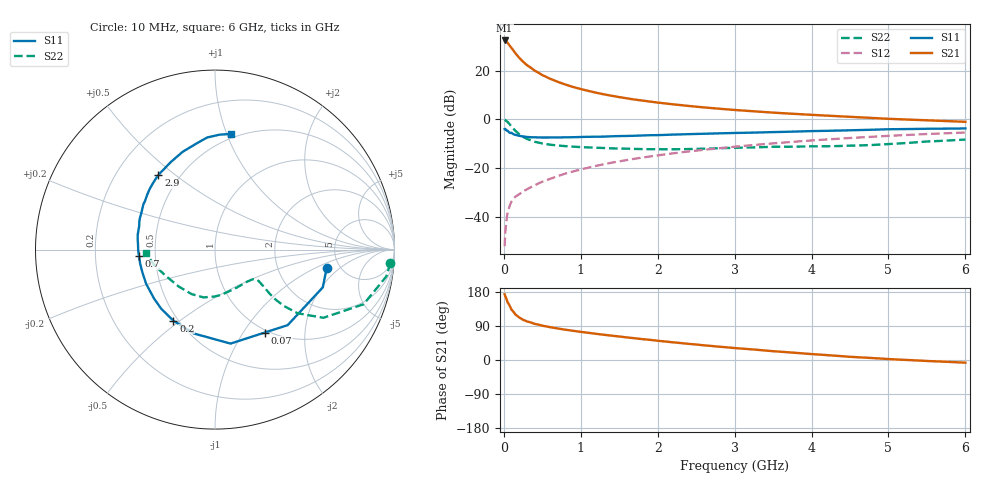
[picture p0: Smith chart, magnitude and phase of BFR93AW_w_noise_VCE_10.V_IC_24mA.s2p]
! (c) 2017  Infineon Technologies AG, Munich
! Infineon Technologies  Discrete & RF Semiconductors
! BFR93AW
! VCE =  10. V,  IC =  24 mA
! Common Emitter S-Parameters:  Jan 2017
# GHz  S  MA  R  50
!  f  S11  S21  S12  S22
! GHz  MAG  ANG  MAG  ANG  MAG  ANG  MAG  ANG
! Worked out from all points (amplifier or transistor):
!   77 points, 10 MHz to 6 GHz, reference 50 ohm
!   highest |S21| = 32.4 dB at 10 MHz (marker M1)
!   |S21| within 3 dB of that: start of sweep to 98.15 MHz
!   unconditionally stable (mu >= 1): 656.1 MHz to 2.073 GHz
!   at 130 MHz: K = 0.46, MSG = 30.2 dB, |S12| = -32.5 dB
!   at 2.2 GHz: K = 0.99, MSG = 10.1 dB, |S12| = -13.9 dB
!   at 6 GHz: K = 0.86, MSG = 2.2 dB, |S12| = -5.4 dB
!   lowest NFmin = 1.63 dB at 450 MHz
!   S11 on the Smith chart (normalised r, x): 10 MHz: 3.91, -1.36; 70 MHz: 0.96, -1.26; 200 MHz: 0.47, -0.47; 700 MHz: 0.40, -0.04; 2.9 GHz: 0.38, +0.44; 6 GHz: 0.46, +1.03
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0.01  0.6303 -9.6  41.54 173.4  0.0025 87.4  0.9803 -4.3
0.02  0.6366 -19.3  41.41 167.9  0.005 82.7  0.967 -8.8
0.05  0.584 -46.1  37.12 152.0  0.0126 71.8  0.882 -20.2
0.07  0.539 -59.0  33.51 145.4  0.0158 66.6  0.8104 -24.4
0.1  0.5308 -80.6  29.18 132.6  0.0207 61.8  0.7131 -32.2
0.15  0.482 -104.2  22.78 120.3  0.0259 57.8  0.5818 -37.6
0.2  0.4589 -120.4  18.34 112.2  0.0291 58.9  0.4955 -39.3
0.25  0.4454 -132.3  15.27 106.1  0.0334 57.8  0.438 -39.5
0.3  0.4355 -141.3  12.97 101.9  0.0366 59.9  0.3961 -39.0
0.4  0.4284 -153.6  10.02 95.4  0.0444 63.0  0.3475 -37.5
0.5  0.424 -162.5  8.106 90.6  0.0525 64.6  0.3198 -36.5
0.6  0.4243 -169.3  6.827 86.7  0.0601 65.9  0.3022 -35.8
0.7  0.4251 -174.9  5.886 83.2  0.0682 67.9  0.2905 -35.7
0.9  0.4298 176.2  4.614 77.1  0.0852 68.4  0.2754 -36.8
1.1  0.4384 169.1  3.824 71.7  0.1022 69.0  0.2654 -39.1
1.5  0.4536 157.4  2.859 62.0  0.1373 68.1  0.2512 -46.4
2.1  0.48 143.1  2.12 48.8  0.1914 64.8  0.2434 -62.8
2.9  0.5205 127.3  1.604 33.4  0.2646 58.8  0.258 -87.3
3.1  0.5287 123.5  1.519 30.0  0.2834 57.0  0.2625 -92.9
4.1  0.5775 106.8  1.214 14.3  0.3776 47.3  0.2798 -121.2
5.1  0.6285 92.7  1.011 1.5  0.4663 36.4  0.3172 -155.0
6  0.6503 82.2  0.89 -7.0  0.5372 26.3  0.3851 -177.5
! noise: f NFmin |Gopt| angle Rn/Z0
0.45  1.63  0.16  169  0.16
0.9  1.9  0.24  180  0.16
1.9  2.91  0.49  -137  0.25
2.4  3.56  0.55  -125  0.49
